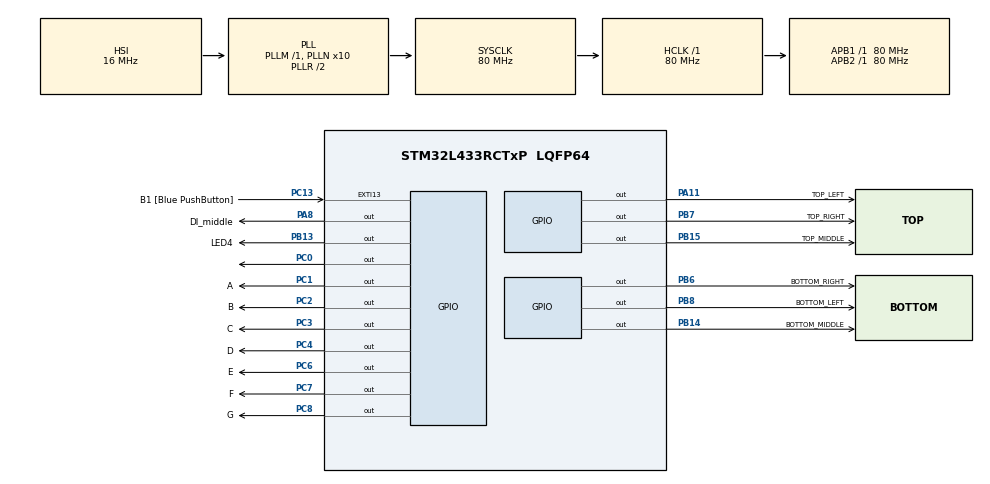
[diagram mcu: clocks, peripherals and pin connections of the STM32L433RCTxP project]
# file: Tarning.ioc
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Mcu.Family=STM32L4
Mcu.Name=STM32L433RCTxP
Mcu.Package=LQFP64
NVIC.PriorityGroup=NVIC_PRIORITYGROUP_4
PA11.GPIO_Label=TOP_LEFT
PA11.Signal=GPIO_Output
PA8.GPIO_Label=DI_middle
PA8.Signal=GPIO_Output
PB13.GPIO_Label=LED4
PB13.Signal=GPIO_Output
PB14.GPIO_Label=BOTTOM_MIDDLE
PB14.Signal=GPIO_Output
PB15.GPIO_Label=TOP_MIDDLE
PB15.Signal=GPIO_Output
PB6.GPIO_Label=BOTTOM_RIGHT
PB6.Signal=GPIO_Output
PB7.GPIO_Label=TOP_RIGHT
PB7.Signal=GPIO_Output
PB8.GPIO_Label=BOTTOM_LEFT
PB8.Signal=GPIO_Output
PC0.Signal=GPIO_Output
PC1.GPIO_Label=A
PC1.Signal=GPIO_Output
PC13.GPIO_Label=B1 [Blue PushButton]
PC13.Signal=GPXTI13
PC2.GPIO_Label=B
PC2.Signal=GPIO_Output
PC3.GPIO_Label=C
PC3.Signal=GPIO_Output
PC4.GPIO_Label=D
PC4.Signal=GPIO_Output
PC6.GPIO_Label=E
PC6.Signal=GPIO_Output
PC7.GPIO_Label=F
PC7.Signal=GPIO_Output
PC8.GPIO_Label=G
PC8.Signal=GPIO_Output
ProjectManager.HeapSize=0x200
ProjectManager.StackSize=0x400
ProjectManager.TargetToolchain=STM32CubeIDE
RCC.ADCFreq_Value=64000000
RCC.AHBFreq_Value=80000000
RCC.APB1Freq_Value=80000000
RCC.APB1TimFreq_Value=80000000
RCC.APB2Freq_Value=80000000
RCC.APB2TimFreq_Value=80000000
RCC.CortexFreq_Value=80000000
RCC.HCLKFreq_Value=80000000
RCC.HSE_VALUE=8000000
RCC.HSI48_VALUE=48000000
RCC.HSI_VALUE=16000000
RCC.LSE_VALUE=32768
RCC.MSI_VALUE=4000000
RCC.PLLN=10
RCC.PLLSourceVirtual=RCC_PLLSOURCE_HSI
RCC.PREFETCH_ENABLE=1
RCC.SYSCLKFreq_VALUE=80000000
RCC.SYSCLKSource=RCC_SYSCLKSOURCE_PLLCLK
RCC.USBFreq_Value=64000000
RCC.VCOOutputFreq_Value=160000000
board=NUCLEO-L433RC-P

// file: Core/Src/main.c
/* USER CODE BEGIN Header */
/**
  ******************************************************************************
  * @file           : main.c
  * @brief          : Main program body
  ******************************************************************************
  * @attention
  *
  * Copyright (c) 2026 STMicroelectronics.
  * All rights reserved.
  *
  * This software is licensed under terms that can be found in the LICENSE file
  * in the root directory of this software component.
  * If no LICENSE file comes with this software, it is provided AS-IS.
  *
  ******************************************************************************
  */
/* USER CODE END Header */
#include "main.h"

/* USER CODE BEGIN Includes */
#include <stdio.h>
#include <stdbool.h>
#include <stdlib.h>
#include <roll.h>
#include <dice_state.h>
#include <segment.h>
/* USER CODE END Includes */

void SystemClock_Config(void);
static void MX_GPIO_Init(void);

/* USER CODE BEGIN 0 */
int pressed = 0;
int roll = 0;
/* USER CODE END 0 */

int main(void)
{

  /* USER CODE BEGIN 1 */

	put_on_sseg(roll);

  /* USER CODE END 1 */

  /* MCU Configuration--------------------------------------------------------*/

  /* Reset of all peripherals, Initializes the Flash interface and the Systick. */
  HAL_Init();

  /* Configure the system clock */
  SystemClock_Config();

  /* Initialize all configured peripherals */
  MX_GPIO_Init();

  /* Infinite loop */
  while (1)
  {

    /* USER CODE BEGIN 3 */
	  pressed = (int) GPIOC ->IDR & (1u << 13);
	  if (pressed)
	  {
		  HAL_GPIO_WritePin(LED4_GPIO_Port, LED4_Pin, GPIO_PIN_SET);
		  roll = roll_dice();
		  put_on_sseg(roll);
		  put_die_dots(roll);
	  }
	  else
	  {
		  GPIO_TypeDef* ld_gpio = LED4_GPIO_Port; // fel! ersatt med ditt svar
		  uint16_t ld_pin_nbr = 13; // fel! ersatt med ditt svar
		  uint16_t ld_pin = 0x01 << ld_pin_nbr;
		  HAL_GPIO_WritePin(LED4_GPIO_Port, LED4_Pin, GPIO_PIN_RESET);

	  }
	  HAL_Delay(200);

  }
  /* USER CODE END 3 */
}

void SystemClock_Config(void)
{
  RCC_OscInitTypeDef RCC_OscInitStruct = {0};
  RCC_ClkInitTypeDef RCC_ClkInitStruct = {0};

  /** Configure the main internal regulator output voltage
  */
  if (HAL_PWREx_ControlVoltageScaling(PWR_REGULATOR_VOLTAGE_SCALE1) != HAL_OK)
  {
    Error_Handler();
  }

  /** Initializes the RCC Oscillators according to the specified parameters
  * in the RCC_OscInitTypeDef structure.
  */
  RCC_OscInitStruct.OscillatorType = RCC_OSCILLATORTYPE_HSI;
  RCC_OscInitStruct.HSIState = RCC_HSI_ON;
  RCC_OscInitStruct.HSICalibrationValue = RCC_HSICALIBRATION_DEFAULT;
  RCC_OscInitStruct.PLL.PLLState = RCC_PLL_ON;
  RCC_OscInitStruct.PLL.PLLSource = RCC_PLLSOURCE_HSI;
  RCC_OscInitStruct.PLL.PLLM = 1;
  RCC_OscInitStruct.PLL.PLLN = 10;
  RCC_OscInitStruct.PLL.PLLP = RCC_PLLP_DIV7;
  RCC_OscInitStruct.PLL.PLLQ = RCC_PLLQ_DIV2;
  RCC_OscInitStruct.PLL.PLLR = RCC_PLLR_DIV2;
  if (HAL_RCC_OscConfig(&RCC_OscInitStruct) != HAL_OK)
  {
    Error_Handler();
  }

  /** Initializes the CPU, AHB and APB buses clocks
  */
  RCC_ClkInitStruct.ClockType = RCC_CLOCKTYPE_HCLK|RCC_CLOCKTYPE_SYSCLK
                              |RCC_CLOCKTYPE_PCLK1|RCC_CLOCKTYPE_PCLK2;
  RCC_ClkInitStruct.SYSCLKSource = RCC_SYSCLKSOURCE_PLLCLK;
  RCC_ClkInitStruct.AHBCLKDivider = RCC_SYSCLK_DIV1;
  RCC_ClkInitStruct.APB1CLKDivider = RCC_HCLK_DIV1;
  RCC_ClkInitStruct.APB2CLKDivider = RCC_HCLK_DIV1;

  if (HAL_RCC_ClockConfig(&RCC_ClkInitStruct, FLASH_LATENCY_4) != HAL_OK)
  {
    Error_Handler();
  }
}

static void MX_GPIO_Init(void)
{
  GPIO_InitTypeDef GPIO_InitStruct = {0};

  /* GPIO Ports Clock Enable */
  __HAL_RCC_GPIOC_CLK_ENABLE();
  __HAL_RCC_GPIOB_CLK_ENABLE();
  __HAL_RCC_GPIOA_CLK_ENABLE();

  /*Configure GPIO pin Output Level */
  HAL_GPIO_WritePin(GPIOC, GPIO_PIN_0|A_Pin|B_Pin|C_Pin
                          |D_Pin|E_Pin|F_Pin|G_Pin, GPIO_PIN_RESET);

  /*Configure GPIO pin Output Level */
  HAL_GPIO_WritePin(GPIOB, LED4_Pin|BOTTOM_MIDDLE_Pin|TOP_MIDDLE_Pin|BOTTOM_RIGHT_Pin
                          |TOP_RIGHT_Pin|BOTTOM_LEFT_Pin, GPIO_PIN_RESET);

  /*Configure GPIO pin Output Level */
  HAL_GPIO_WritePin(GPIOA, DI_middle_Pin|TOP_LEFT_Pin, GPIO_PIN_RESET);

  /*Configure GPIO pin : B1_Pin */
  GPIO_InitStruct.Pin = B1_Pin;
  GPIO_InitStruct.Mode = GPIO_MODE_IT_RISING;
  GPIO_InitStruct.Pull = GPIO_NOPULL;
  HAL_GPIO_Init(B1_GPIO_Port, &GPIO_InitStruct);

  /*Configure GPIO pins : PC0 A_Pin B_Pin C_Pin
                           D_Pin E_Pin F_Pin G_Pin */
  GPIO_InitStruct.Pin = GPIO_PIN_0|A_Pin|B_Pin|C_Pin
                          |D_Pin|E_Pin|F_Pin|G_Pin;
  GPIO_InitStruct.Mode = GPIO_MODE_OUTPUT_PP;
  GPIO_InitStruct.Pull = GPIO_NOPULL;
  GPIO_InitStruct.Speed = GPIO_SPEED_FREQ_LOW;
  HAL_GPIO_Init(GPIOC, &GPIO_InitStruct);

  /*Configure GPIO pins : LED4_Pin BOTTOM_MIDDLE_Pin TOP_MIDDLE_Pin BOTTOM_RIGHT_Pin
                           TOP_RIGHT_Pin BOTTOM_LEFT_Pin */
  GPIO_InitStruct.Pin = LED4_Pin|BOTTOM_MIDDLE_Pin|TOP_MIDDLE_Pin|BOTTOM_RIGHT_Pin
                          |TOP_RIGHT_Pin|BOTTOM_LEFT_Pin;
  GPIO_InitStruct.Mode = GPIO_MODE_OUTPUT_PP;
  GPIO_InitStruct.Pull = GPIO_NOPULL;
  GPIO_InitStruct.Speed = GPIO_SPEED_FREQ_LOW;
  HAL_GPIO_Init(GPIOB, &GPIO_InitStruct);

  /*Configure GPIO pins : DI_middle_Pin TOP_LEFT_Pin */
  GPIO_InitStruct.Pin = DI_middle_Pin|TOP_LEFT_Pin;
  GPIO_InitStruct.Mode = GPIO_MODE_OUTPUT_PP;
  GPIO_InitStruct.Pull = GPIO_NOPULL;
  GPIO_InitStruct.Speed = GPIO_SPEED_FREQ_LOW;
  HAL_GPIO_Init(GPIOA, &GPIO_InitStruct);

}

void Error_Handler(void)
{
  __disable_irq();
  while (1)
  {
  }
}
